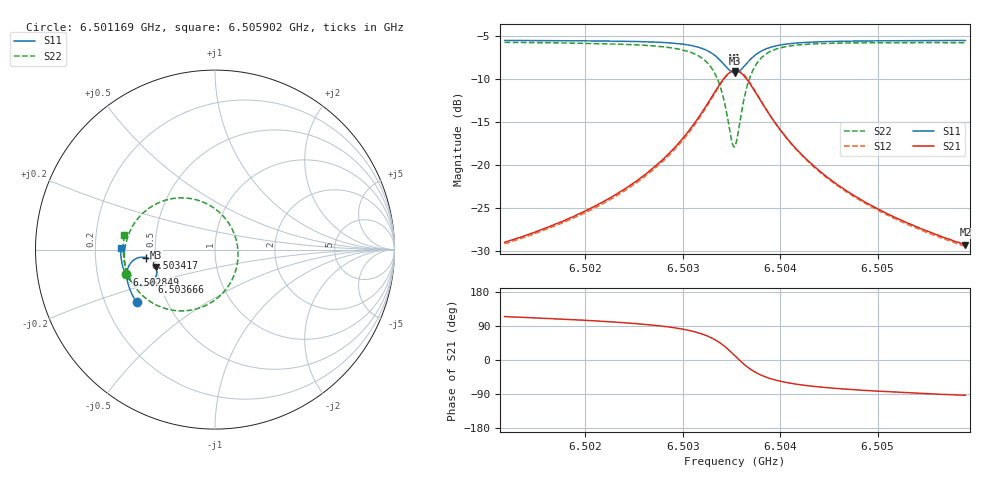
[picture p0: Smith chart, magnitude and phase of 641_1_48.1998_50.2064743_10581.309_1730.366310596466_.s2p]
#  HZ  S  RI  R  50.00
! Rohde & Schwarz Vector Network Analyzer
! Rohde-Schwarz,ZNB20-2Port,1311601062101988,3.16
! Created: UTC 3/20/2024, 12:04:49 PM
! freq[Hz]  re:S11  im:S11  re:S21  im:S21  re:S12  im:S12  re:S22  im:S22
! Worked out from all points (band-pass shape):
!   401 points, 6.501169 GHz to 6.505902 GHz, reference 50 ohm
!   highest |S21| = -9.07 dB at 6.503536 GHz (marker M1); lowest = -29.3 dB at 6.505902 GHz (marker M2)
!   |S21| within 3 dB of the highest: 6.503299 GHz to 6.503773 GHz (473.4 kHz wide, 0.00728 % of centre)
!   lowest |S11| = -9.3 dB at 6.503536 GHz (marker M3), VSWR 2.04, Z = 24.9 - j5.57 ohm
!   |S11| at or under -10 dB: nowhere
!   |S22| runs from -17.9 to -5.8 dB; largest |S21 - S12| = 0.013
!   S11 on the Smith chart (normalised r, x): 6.501169 GHz: 0.34, -0.27; 6.502849 GHz: 0.33, -0.12; 6.503417 GHz: 0.44, -0.05; 6.503666 GHz: 0.46, -0.19; 6.505902 GHz: 0.31, +0.01
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6.5011693e9  -0.4367 -0.2944  -0.0148 0.0324  -0.0129 0.0324  -0.4952 -0.1357
6.501962e9  -0.4692 -0.234  -0.0139 0.0511  -0.0112 0.0506  -0.5049 -0.048
6.5024116e9  -0.484 -0.1924  -0.0103 0.0723  -0.00702 0.0711  -0.4993 0.0198
6.5027547e9  -0.4911 -0.1523  -0.000462 0.1026  0.00343 0.1001  -0.4774 0.094
6.5028494e9  -0.4915 -0.1388  0.00544 0.1151  0.00938 0.1121  -0.4646 0.1209
6.5030505e9  -0.4854 -0.1042  0.0304 0.1518  0.0342 0.1471  -0.4129 0.1918
6.5031925e9  -0.469 -0.0738  0.0718 0.1868  0.0748 0.1807  -0.3328 0.252
6.5033226e9  -0.4315 -0.0467  0.1517 0.2131  0.1528 0.2067  -0.1873 0.2883
6.5034173e9  -0.383 -0.0446  0.2467 0.1956  0.247 0.1906  -0.0233 0.2428
6.5035001e9  -0.3385 -0.0755  0.3276 0.1178  0.3305 0.1132  0.1065 0.0895
6.5035356e9  -0.3273 -0.0986  0.3457 0.067  0.3499 0.061  0.128 -0.00605
6.5035592e9  -0.3243 -0.1157  0.3492 0.0309  0.3537 0.0236  0.1253 -0.0722
6.5035947e9  -0.3266 -0.1408  0.3411 -0.0211  0.3452 -0.0309  0.0966 -0.165
6.5036657e9  -0.3499 -0.1796  0.2923 -0.1002  0.2924 -0.1128  -0.0187 -0.2932
6.5037604e9  -0.3923 -0.2001  0.2108 -0.1448  0.2055 -0.1561  -0.185 -0.3415
6.5038314e9  -0.4195 -0.2001  0.1614 -0.1499  0.1543 -0.1587  -0.2775 -0.3284
6.5039142e9  -0.4433 -0.1928  0.1193 -0.1436  0.1117 -0.1498  -0.3514 -0.2957
6.5040798e9  -0.4732 -0.1715  0.0696 -0.1218  0.0629 -0.1245  -0.4319 -0.2263
6.5043283e9  -0.4961 -0.1401  0.0357 -0.0939  0.0305 -0.0946  -0.4811 -0.1464
6.5046951e9  -0.512 -0.1004  0.0154 -0.0682  0.0118 -0.0679  -0.5048 -0.0677
6.505121e9  -0.5211 -0.06  0.00541 -0.0511  0.00304 -0.0506  -0.5111 -0.00406
6.5059019e9  -0.5265 0.00698  -0.00186 -0.0344  -0.00334 -0.0336  -0.5046 0.0823
